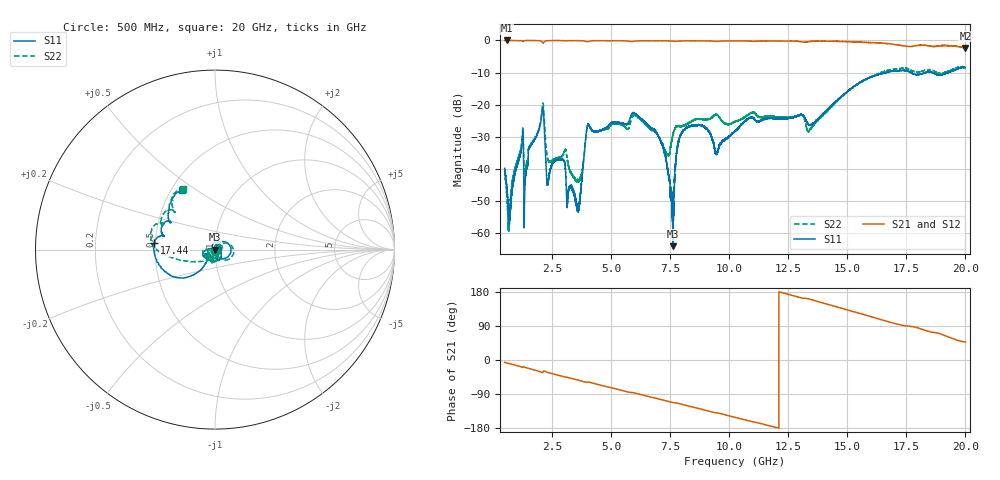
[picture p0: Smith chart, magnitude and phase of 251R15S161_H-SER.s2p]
!{251R15S161}
!Johanson Technology Inc.
!www.johansontechnology.com
!Test Board Conditions:
!Substrate Type  RO4350B
!Substrate Thickness  20 mil
!Substrate Dk  3.66
!TL Type: GCPW
!TL Trace Width  34 mil
!TL Gap  10 mil
!Electrode orientation  Horizontal
!DUT TOPOLOGY	SERIES
!Mounting Pad LxW  26x52 mil
! Created Thu Mar 12 16:53:36 2020
# mhz S ma R 50
! 2 Port Network Data from SP1.SP block
! freq  magS11  angS11  magS21  angS21  magS12  angS12  magS22  angS22
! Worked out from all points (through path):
!   19501 points, 500 MHz to 20 GHz, reference 50 ohm
!   highest |S21| = 0.00 dB at 604 MHz (marker M1); lowest = -2.3 dB at 20 GHz (marker M2)
!   group delay of S21, straight-line fit = 43.2 ps
!   lowest |S11| = -64.0 dB at 7.63 GHz (marker M3), VSWR 1.00, Z = 50 - j0.0584 ohm
!   |S11| at or under -10 dB: start of sweep to 16.6 GHz; 17.7 GHz to 18.3 GHz (601.2 MHz wide, 3.34 % of centre); 18.62 GHz to 19.25 GHz (630.6 MHz wide, 3.33 % of centre)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
!   |S22| runs from -59.5 to -8.1 dB; largest |S21 - S12| = 0.019
!   S11 on the Smith chart (normalised r, x): 500 MHz: 1.00, -0.02; 17.44 GHz: 0.49, +0.04; 20 GHz: 0.57, +0.44
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500  0.01026 -103.0  0.9993 -6.2  0.9993 -6.2  0.009327 -93.6
604  0.004636 -112.8  0.9998 -8.0  0.9986 -8.0  0.003532 -83.2
736  0.001988 128.1  0.9985 -10.2  0.9994 -10.2  0.003124 48.0
1202  0.02008 76.5  0.9963 -17.9  0.9967 -17.8  0.02254 59.0
1403  0.008827 85.1  0.9974 -20.2  0.9969 -20.2  0.0112 44.3
2089  0.07851 28.1  0.9482 -33.3  0.9487 -33.3  0.08854 18.7
2343  0.006528 145.0  0.993 -33.1  0.9935 -33.1  0.01323 -31.1
2955  0.01412 74.5  0.9941 -43.2  0.9941 -43.2  0.01635 5.3
3591  0.002304 55.1  0.9944 -52.8  0.9937 -52.8  0.006805 -44.4
3750  0.005867 -14.3  0.9898 -55.4  0.9899 -55.5  0.008121 -37.6
4059  0.04913 -106.9  0.9644 -58.2  0.9646 -58.2  0.04728 -110.1
5978  0.07466 -155.7  0.9721 -86.7  0.9727 -86.7  0.06839 -168.2
7000  0.03303 171.1  0.9879 -102.4  0.9882 -102.4  0.03213 -179.4
7630  0.0006284 -111.7  0.9732 -112.3  0.9734 -112.3  0.03588 -109.8
7830  0.02485 129.4  0.9739 -114.2  0.9748 -114.2  0.04581 -139.5
8100  0.04129 95.6  0.9866 -118.5  0.9856 -118.4  0.04809 -144.4
9469  0.01748 51.0  0.9685 -139.4  0.9675 -139.4  0.07103 -138.7
10250  0.03854 -28.3  0.983 -151.4  0.9841 -151.3  0.05429 -113.0
13500  0.04864 -140.2  0.97 158.9  0.9693 158.9  0.04441 -103.2
16750  0.3244 -165.6  0.8935 100.9  0.8842 100.4  0.3454 177.4
17444  0.3403 173.7  0.8203 90.3  0.8154 90.4  0.3709 161.8
20000  0.3779 119.1  0.7645 47.4  0.7651 47.7  0.3834 117.6
